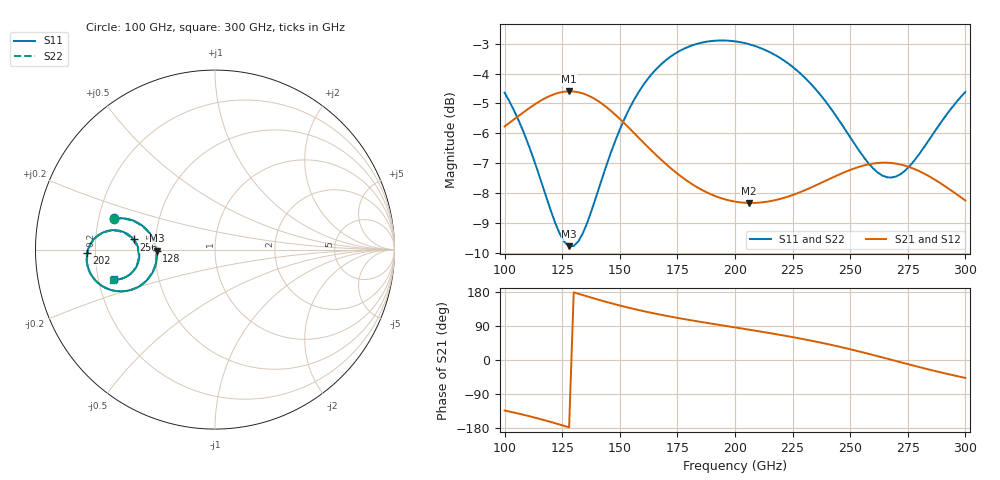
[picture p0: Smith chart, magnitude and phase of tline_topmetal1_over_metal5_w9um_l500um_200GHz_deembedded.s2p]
! Created with skrf 2.2.0 (http://scikit-rf.org).
# GHz S DB R 50.0
! Port[1] = P1
! Port[2] = P2
!freq dBS11 angS11 dBS21 angS21 dBS12 angS12 dBS22 angS22
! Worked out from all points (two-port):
!   101 points, 100 GHz to 300 GHz, reference 50 ohm
!   highest |S21| = -4.59 dB at 128 GHz (marker M1); lowest = -8.3 dB at 206 GHz (marker M2)
!   |S21| within 3 dB of the highest: start of sweep to 179.3 GHz; 239.1 GHz to 287.6 GHz (48.5 GHz wide, 18.4 % of centre)
!   lowest |S11| = -9.8 dB at 128 GHz (marker M3), VSWR 1.96, Z = 25.5 - j0.38 ohm
!   |S11| at or under -10 dB: nowhere
!   |S22| runs from -9.7 to -2.9 dB; largest |S21 - S12| = 6.3e-14
!   S11 on the Smith chart (normalised r, x): 100 GHz: 0.27, +0.14; 128 GHz: 0.51, -0.01; 202 GHz: 0.17, -0.01; 256 GHz: 0.37, +0.05; 300 GHz: 0.26, -0.13
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100  -4.64 162.8  -5.77 -133.3  -5.77 -133.3  -4.62 163.0
108  -5.92 160.6  -5.31 -144.3  -5.31 -144.3  -5.89 160.8
114  -7.17 161.3  -4.98 -153.5  -4.98 -153.5  -7.14 161.6
122  -9.00 169.0  -4.68 -167.0  -4.68 -167.0  -8.95 169.2
128  -9.77 -178.8  -4.59 -177.8  -4.59 -177.8  -9.71 -178.7
134  -9.34 -165.6  -4.66 171.2  -4.66 171.2  -9.28 -165.6
142  -7.58 -155.7  -4.99 157.0  -4.99 157.0  -7.54 -155.8
150  -5.87 -154.2  -5.52 143.8  -5.52 143.8  -5.85 -154.3
158  -4.64 -156.7  -6.13 132.1  -6.13 132.1  -4.63 -156.7
168  -3.68 -161.5  -6.88 119.2  -6.88 119.2  -3.67 -161.5
184  -2.99 -169.8  -7.82 101.7  -7.82 101.7  -2.98 -169.7
200  -2.92 -177.4  -8.28 86.0  -8.28 86.0  -2.91 -177.3
202  -2.94 -178.3  -8.31 84.0  -8.31 84.0  -2.93 -178.2
206  -3.01 179.9  -8.33 80.1  -8.33 80.1  -3.00 -179.9
220  -3.50 174.2  -8.18 65.8  -8.18 65.8  -3.48 174.4
234  -4.43 169.8  -7.78 49.8  -7.78 49.8  -4.41 170.1
246  -5.66 169.0  -7.35 34.0  -7.35 34.0  -5.62 169.4
256  -6.81 172.9  -7.07 19.3  -7.07 19.3  -6.75 173.2
268  -7.48 -176.2  -6.99 0.4  -6.99 0.4  -7.41 -176.0
276  -7.08 -168.6  -7.14 -12.4  -7.14 -12.4  -7.01 -168.5
284  -6.24 -164.0  -7.42 -24.8  -7.42 -24.8  -6.18 -164.0
300  -4.61 -163.6  -8.24 -47.3  -8.24 -47.3  -4.57 -163.5
